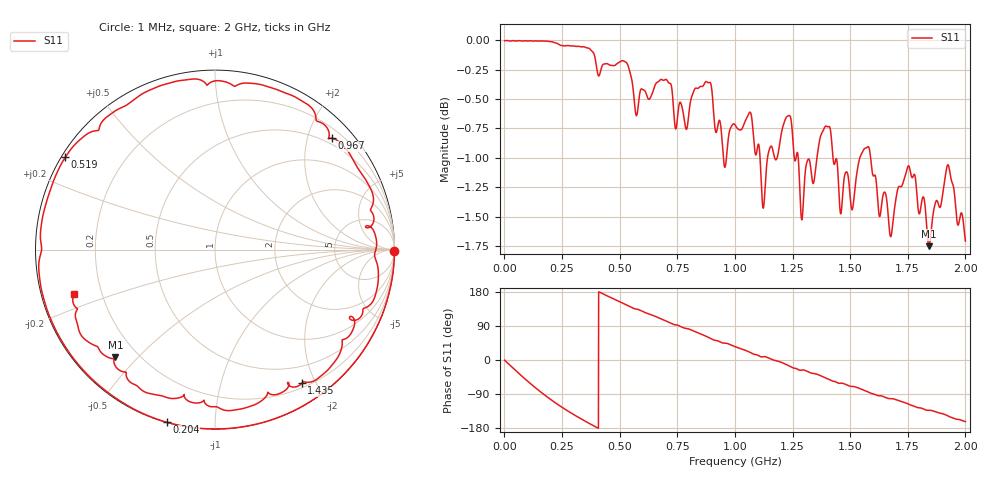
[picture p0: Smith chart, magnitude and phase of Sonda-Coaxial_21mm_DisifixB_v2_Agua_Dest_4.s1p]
! TOUCHSTONE file generated by CST MICROWAVE STUDIO
! Date and time: Sun Aug  2 11:33:44 2026
! Project name: Sonda-Coaxial_21mm_DisifixB_v2_Agua_Dest.cst
! Parameters = {h_recipiente=20; l_conector=50; r_arandela=35; r_ext=10.5; r_int=3; r_recipiente=100; z_recipiente=-80}
! Header version: 2018
! Port assignment regex: !\s*Touchstone port\s*([0-9]+)\s*=\s*(CST MWS port|CST DS port)\s*([0-9]+|Zmin|Zmax)\s*\(\"(.*)\"\)(\s*mode\s*([0-9]+))?.*
! Touchstone port assignment:
! Touchstone port 1 = CST MWS port 1 ("")
# GHz S RI R 50
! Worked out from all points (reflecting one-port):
!   2000 points, 1 MHz to 2 GHz, reference 50 ohm
!   lowest |S11| = -1.8 dB at 1.842 GHz (marker M1), VSWR 9.94, Z = 5.98 - j21.6 ohm
!   phase of S11 starts at -1 deg and turns -522 deg over the sweep
!   S11 on the Smith chart (normalised r, x): 1 MHz: open; 204 MHz: 0.00, -0.76; 519 MHz: 0.01, +0.28; 967 MHz: 0.38, +2.45; 1.435 GHz: 0.26, -1.81; 2 GHz: 0.10, -0.15
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0.001  0.9997 -0.00992
0.05  0.88 -0.4738
0.108  0.5051 -0.8627
0.155  0.1191 -0.9924
0.204  -0.2692 -0.9619
0.251  -0.5732 -0.8133
0.308  -0.8302 -0.547
0.366  -0.9658 -0.2284
0.436  -0.9683 0.1325
0.501  -0.8776 0.4343
0.519  -0.8344 0.5138
0.668  -0.3542 0.8926
0.751  -0.0325 0.9266
0.855  0.3618 0.8848
0.902  0.5508 0.7718
0.967  0.6513 0.6201
1.001  0.7525 0.5301
1.072  0.8826 0.2879
1.215  0.9102 -0.1552
1.251  0.8515 -0.3173
1.371  0.6848 -0.599
1.435  0.4829 -0.7447
1.501  0.3009 -0.8014
1.579  0.0847 -0.897
1.751  -0.3837 -0.7963
1.842  -0.5546 -0.6003
1.932  -0.7607 -0.4415
2  -0.783 -0.2483
